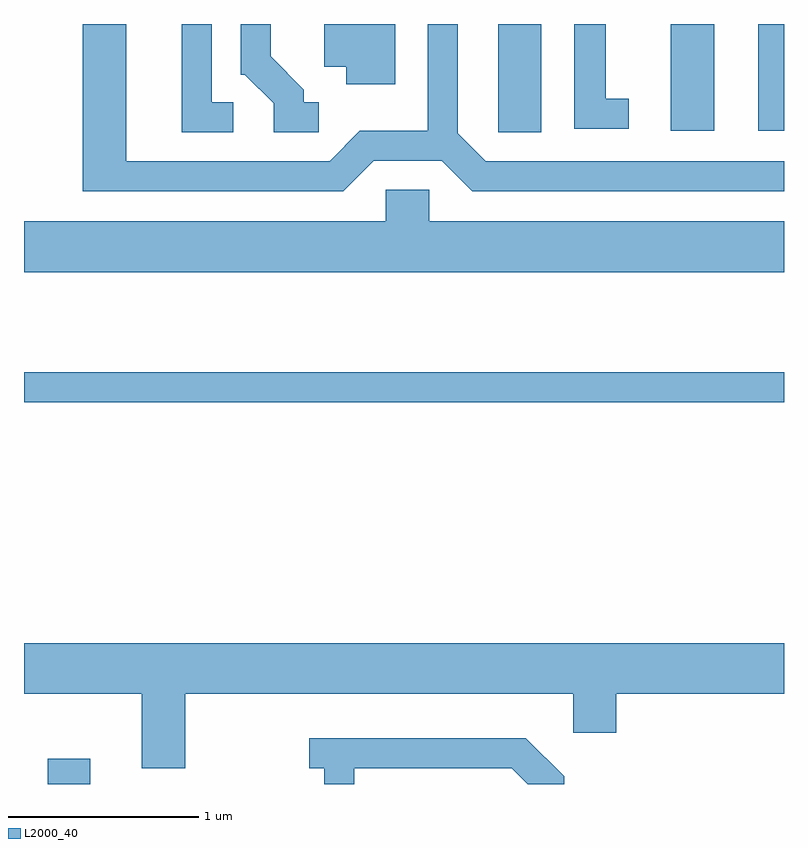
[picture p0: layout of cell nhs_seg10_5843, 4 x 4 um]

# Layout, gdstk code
import gdstk
lib = gdstk.Library(unit=1e-6, precision=1e-09)
def R(c, l, rs):  # rectangles x0, y0, x1, y1
    for r in rs: c.add(gdstk.rectangle(r[:2], r[2:], *l))
def P(c, l, *ps):  # polygons
    for p in ps: c.add(gdstk.Polygon(p, *l))
L2000_40 = (2000, 40)

nhs_seg10_5843 = lib.new_cell('nhs_seg10_5843')
R(nhs_seg10_5843, L2000_40, [(357.736,2144.522,357.959,2144.654), (357.611,2146.531,361.611,2146.689), (360.106,2147.951,360.334,2148.522), (361.016,2147.961,361.244,2148.522), (361.476,2147.961,361.611,2148.522)])
P(nhs_seg10_5843, L2000_40, [(359.452,2147.801),(359.809,2147.801),(359.969,2147.641),(361.611,2147.641),(361.611,2147.799),(360.042,2147.799),(359.894,2147.947),(359.894,2148.522),(359.736,2148.522),(359.736,2147.959),(359.379,2147.959),(359.219,2147.799),(358.149,2147.799),(358.149,2148.522),(357.921,2148.522),(357.921,2147.641),(359.292,2147.641)],
  [(360.793,2148.129),(360.674,2148.129),(360.674,2148.522),(360.506,2148.522),(360.506,2147.971),(360.793,2147.971)],
  [(358.713,2148.109),(358.599,2148.109),(358.599,2148.522),(358.441,2148.522),(358.441,2147.951),(358.713,2147.951)],
  [(359.564,2148.522),(359.191,2148.522),(359.191,2148.296),(359.306,2148.296),(359.306,2148.206),(359.564,2148.206)],
  [(359.163,2148.109),(359.084,2148.109),(359.084,2148.177),(358.909,2148.352),(358.909,2148.522),(358.751,2148.522),(358.751,2148.256),(358.774,2148.256),(358.926,2148.104),(358.926,2147.951),(359.163,2147.951)],
  [(361.611,2147.484),(359.744,2147.484),(359.744,2147.649),(359.516,2147.649),(359.516,2147.484),(357.611,2147.484),(357.611,2147.216),(361.611,2147.216)],
  [(358.459,2144.996),(360.501,2144.996),(360.501,2144.791),(360.729,2144.791),(360.729,2144.996),(361.611,2144.996),(361.611,2145.264),(357.611,2145.264),(357.611,2144.996),(358.231,2144.996),(358.231,2144.606),(358.459,2144.606)],
  [(359.349,2144.606),(360.179,2144.606),(360.263,2144.522),(360.454,2144.522),(360.454,2144.562),(360.252,2144.764),(359.113,2144.764),(359.113,2144.606),(359.191,2144.606),(359.191,2144.522),(359.349,2144.522)])

lib.write_gds('nhs_seg10_5843.gds')
